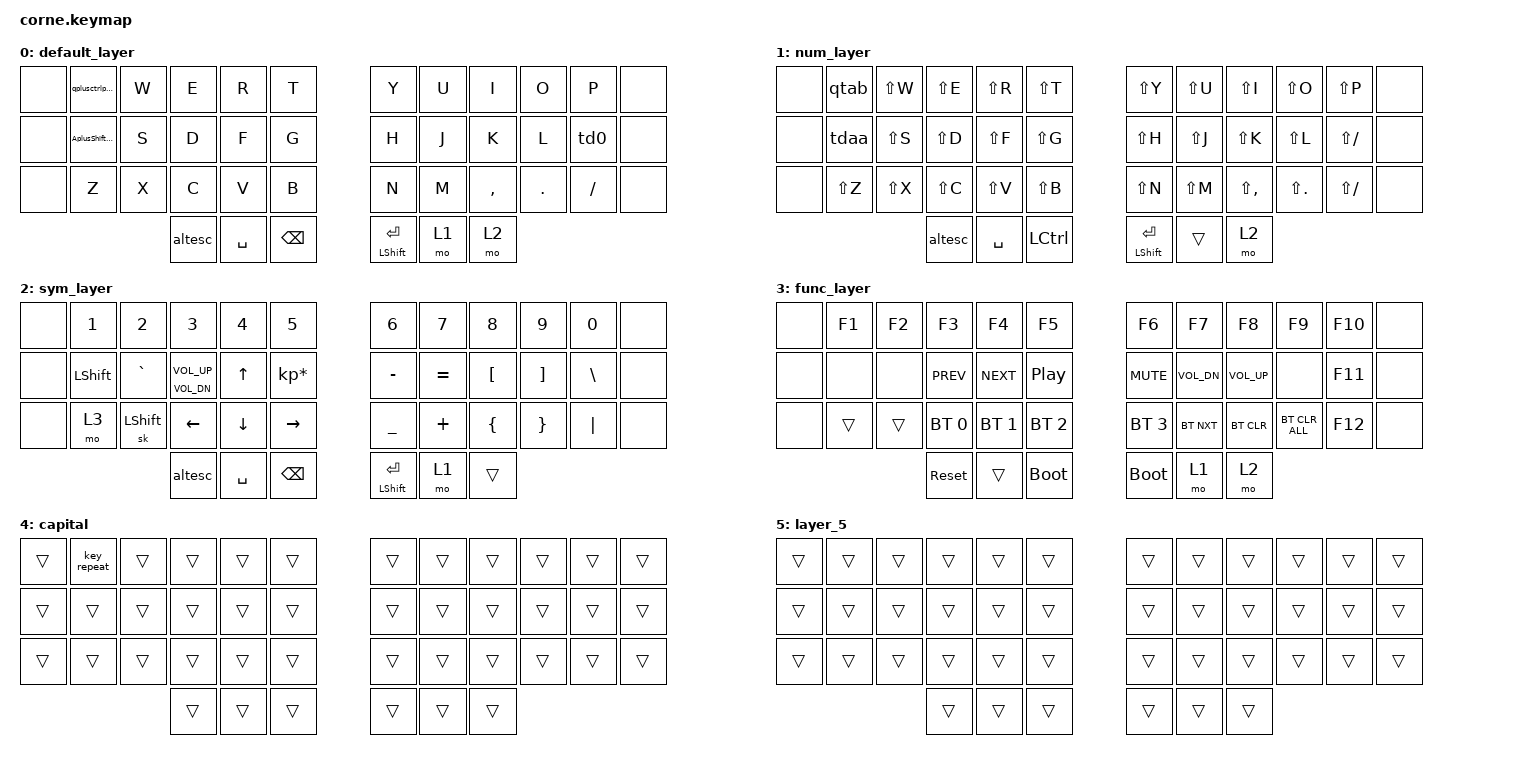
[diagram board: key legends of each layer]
/*
 * Copyright (c) 2020 The ZMK Contributors
 *
 * SPDX-License-Identifier: MIT
 */
/* inspired from https://github.com/jporter-dev/zmk-config?tab=readme-ov-file
*/

#include <behaviors.dtsi>
#include <dt-bindings/zmk/bt.h>
#include <dt-bindings/zmk/keys.h>

// LAYERS

#define DEFAULT 0
#define NUM     1
#define SYM     2
#define FUNC    3

// MACROS

#define SUPER LC(LSHIFT)
#define SUPER2 LA(LC(LSHIFT))

&mt {
    tapping-term-ms = <200>;
    flavor = "tap-preferred";
};

/ {
    behaviors {
        hm: homerow_mods {
            compatible = "zmk,behavior-hold-tap";
            label = "HOMEROW_MODS";
            #binding-cells = <2>;
            tapping-term-ms = <225>;
            quick-tap-ms = <150>;
            flavor = "tap-preferred";
            bindings = <&kp>, <&kp>;
        };

        td0: tap_dance_0 {
            compatible = "zmk,behavior-tap-dance";
            label = "TAP_DANCE_0";
            #binding-cells = <0>;
            tapping-term-ms = <275>;
            bindings = <&hm RGUI SEMI>, <&kp SQT>;
        };

        td1: tap_dance_1 {
            compatible = "zmk,behavior-tap-dance";
            label = "TAP_DANCE_1";
            #binding-cells = <0>;
            tapping-term-ms = <200>;
            bindings = <&mt LCTRL TAB>, <&kp ESC>;
        };

        qtab: qtab {
            compatible = "zmk,behavior-tap-dance";
            label = "QTAB";
            #binding-cells = <0>;
            tapping-term-ms = <300>;
            bindings = <&kp Q>, <&kp TAB>;
        };

        altesc: altesc {
            compatible = "zmk,behavior-tap-dance";
            label = "ALTESC";
            #binding-cells = <0>;
            tapping-term-ms = <300>;
            bindings = <&kp LEFT_ALT>, <&kp ESCAPE>;
        };

        tdaa: tdaa {
            compatible = "zmk,behavior-tap-dance";
            label = "TDAA";
            #binding-cells = <0>;
            tapping-term-ms = <300>;
            bindings = <&hm LEFT_SHIFT A>, <&kp LC(A)>;
        };

        qplusctrlpluscaps: qplusctrlpluscaps {
            compatible = "zmk,behavior-tap-dance";
            label = "QPLUSCTRLPLUSCAPS";
            #binding-cells = <0>;
            bindings = <&kp Q>, <&kt LEFT_CONTROL>, <&kp CLCK>;

            tapping-term-ms = <300>;
        };

        AplusShiftplusWIN: AplusShiftplusWIN {
            compatible = "zmk,behavior-tap-dance";
            label = "APLUSSHIFTPLUSWIN";
            #binding-cells = <0>;
            bindings = <&kp A>, <&kt LEFT_SHIFT>, <&kp LEFT_GUI>;

            tapping-term-ms = <300>;
        };
    };

    combos {
        compatible = "zmk,combos";

        combo_cword {
            timeout-ms = <50>;
            key-positions = <16 19>;
            bindings = <&caps_word>;
        };

        combo_vimwq {
            timeout-ms = <50>;
            key-positions = <1 2>;
            bindings = <&vim_quit>;
        };

        enter {
            bindings = <&kp ENTER>;
            key-positions = <38 17>;
        };

        shift {
            bindings = <&sk LEFT_SHIFT>;
            key-positions = <1 2 3>;
        };

        caps {
            bindings = <&kp CAPSLOCK>;
            key-positions = <2 3 4>;
        };

        windows {
            bindings = <&kp LEFT_GUI>;
            key-positions = <38 5>;
        };

        ctrltab {
            bindings = <&kp LC(TAB)>;
            key-positions = <3 4 5>;
        };

        prnt {
            bindings = <&kp PRINTSCREEN>;
            key-positions = <15 16 17>;
        };

        undo {
            bindings = <&kp LC(Z)>;
            key-positions = <38 25>;
        };
    };

    macros {
        vim_quit: vim_quit {
            label = "ZM_vim_quit";
            compatible = "zmk,behavior-macro";
            #binding-cells = <0>;
            bindings = <&macro_tap>, <&kp ESC &kp COLON &kp W &kp Q>;
        };
    };

    keymap {
        compatible = "zmk,keymap";

        default_layer {
            bindings = <
&none  &qplusctrlpluscaps  &kp W  &kp E    &kp R      &kp T            &kp Y                 &kp U  &kp I      &kp O    &kp P      &none
&none  &AplusShiftplusWIN  &kp S  &kp D    &kp F      &kp G            &kp H                 &kp J  &kp K      &kp L    &td0       &none
&none  &kp Z               &kp X  &kp C    &kp V      &kp B            &kp N                 &kp M  &kp COMMA  &kp DOT  &kp SLASH  &none
                                  &altesc  &kp SPACE  &kp BACKSPACE    &hm LEFT_SHIFT ENTER  &mo 1  &mo 2
            >;
        };

        num_layer {
            bindings = <
&none  &qtab      &kp LS(W)  &kp LS(E)  &kp LS(R)  &kp LS(T)    &kp LS(Y)             &kp LS(U)  &kp LS(I)      &kp LS(O)       &kp LS(P)      &none
&none  &tdaa      &kp LS(S)  &kp LS(D)  &kp LS(F)  &kp LS(G)    &kp LS(H)             &kp LS(J)  &kp LS(K)      &kp LS(L)       &kp LS(SLASH)  &none
&none  &kp LS(Z)  &kp LS(X)  &kp LS(C)  &kp LS(V)  &kp LS(B)    &kp LS(N)             &kp LS(M)  &kp LS(COMMA)  &kp LS(PERIOD)  &kp LS(SLASH)  &none
                             &altesc    &kp SPACE  &kp LCTRL    &hm LEFT_SHIFT ENTER  &trans     &mo 2
            >;
        };

        sym_layer {
            bindings = <
&none  &kp NUMBER_1    &kp NUMBER_2    &kp NUMBER_3              &kp NUMBER_4    &kp N5             &kp NUMBER_6          &kp N7     &kp N8    &kp N9    &kp N0    &none
&none  &kp LEFT_SHIFT  &kp GRAVE       &hm C_VOL_DN C_VOLUME_UP  &kp UP_ARROW    &kp KP_MULTIPLY    &kp MINUS             &kp EQUAL  &kp LBKT  &kp RBKT  &kp BSLH  &none
&none  &mo 3           &sk LEFT_SHIFT  &kp LEFT_ARROW            &kp DOWN_ARROW  &kp RIGHT          &kp UNDER             &kp PLUS   &kp LBRC  &kp RBRC  &kp PIPE  &none
                                       &altesc                   &kp SPACE       &kp BACKSPACE      &hm LEFT_SHIFT ENTER  &mo 1      &trans
            >;
        };

        func_layer {
            bindings = <
&none  &kp F1  &kp F2  &kp F3        &kp F4        &kp F5              &kp F6        &kp F7        &kp F8        &kp F9          &kp F10  &none
&none  &none   &none   &kp C_PREV    &kp C_NEXT    &kp C_PLAY_PAUSE    &kp C_MUTE    &kp C_VOL_DN  &kp C_VOL_UP  &none           &kp F11  &none
&none  &trans  &trans  &bt BT_SEL 0  &bt BT_SEL 1  &bt BT_SEL 2        &bt BT_SEL 3  &bt BT_NXT    &bt BT_CLR    &bt BT_CLR_ALL  &kp F12  &none
                       &sys_reset    &trans        &bootloader         &bootloader   &mo 1         &mo 2
            >;
        };

        capital {
            bindings = <
&trans  &key_repeat  &trans  &trans  &trans  &trans    &trans  &trans  &trans  &trans  &trans  &trans
&trans  &trans       &trans  &trans  &trans  &trans    &trans  &trans  &trans  &trans  &trans  &trans
&trans  &trans       &trans  &trans  &trans  &trans    &trans  &trans  &trans  &trans  &trans  &trans
                             &trans  &trans  &trans    &trans  &trans  &trans
            >;
        };

        layer_5 {
            bindings = <
&trans  &trans  &trans  &trans  &trans  &trans    &trans  &trans  &trans  &trans  &trans  &trans
&trans  &trans  &trans  &trans  &trans  &trans    &trans  &trans  &trans  &trans  &trans  &trans
&trans  &trans  &trans  &trans  &trans  &trans    &trans  &trans  &trans  &trans  &trans  &trans
                        &trans  &trans  &trans    &trans  &trans  &trans
            >;
        };
    };
};
